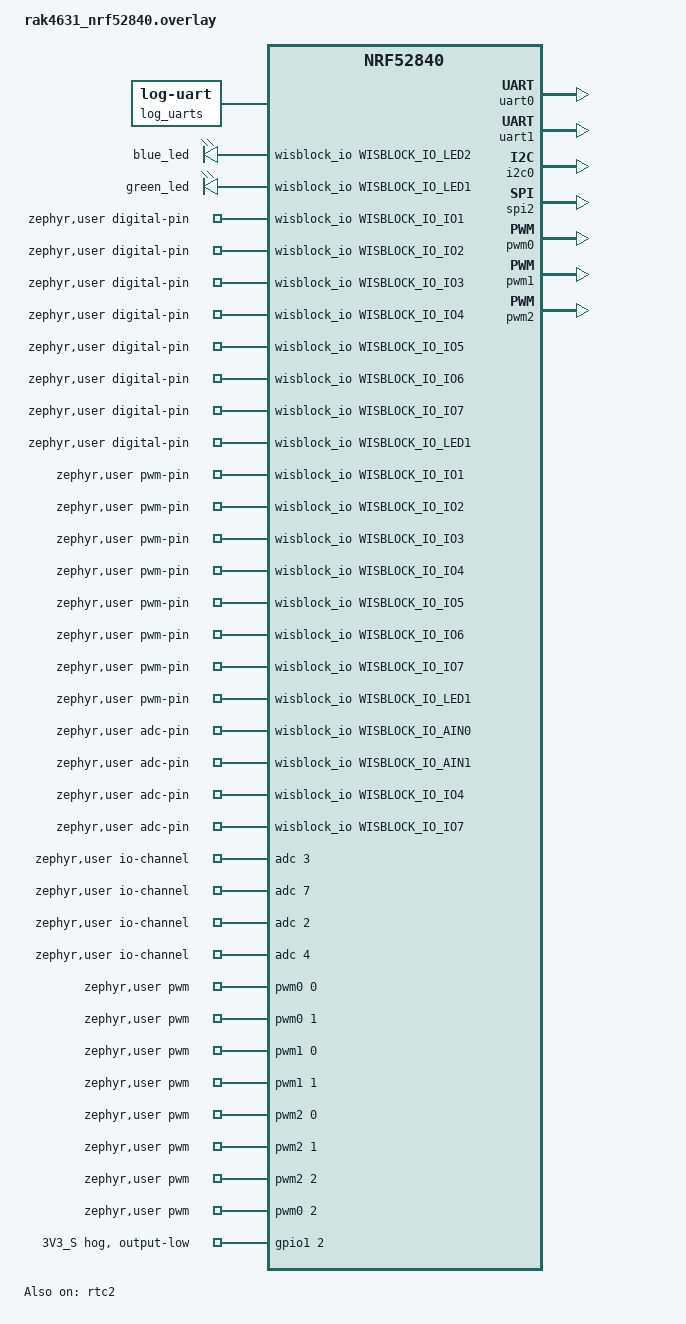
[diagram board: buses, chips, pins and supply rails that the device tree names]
/*
 * Copyright (c) 2026 RAKwireless Technology Limited
 * Author: sercan.erat@rakwireless.com
 * SPDX-License-Identifier: Apache-2.0
 */

/* Flash layout, shared with the MCUboot image as well. */
#include "rak4631_nrf52840_partitions.dtsi"
/* Boot-mode retention area, shared with the MCUboot image as well. */
#include "rak4631_nrf52840_bootmode.dtsi"

/ {
	chosen {
		zephyr,console = &board_cdc_acm_logging;
		zephyr,log-uart = &log_uarts;
		zephyr,shell-uart = &board_cdc_acm_shell;
		zephyr,code-partition = &code_partition;
		/delete-property/ zephyr,uart-mcumgr;
	};

	aliases {
		/* LED_BUILTIN resolves to the green LED (D7). */
		led0 = &green_led;
	};

	log_uarts: log_uarts {
		compatible = "zephyr,log-uart";
		uarts = <&board_cdc_acm_logging>;
	};
};

/*
 * USB CDC-ACM ports, in enumeration order:
 *  1. sketch:  the sketch's 'Serial' (SerialUSB)
 *  2. shell:   Zephyr shell (debug builds only, unused otherwise)
 *  3. logging: console (printk/stdout msg) + log backend (debug builds only, unused otherwise)
 */
&zephyr_udc0 {
	board_cdc_acm_sketch: board_cdc_acm_sketch {
		compatible = "zephyr,cdc-acm-uart";
		status = "okay";
	};

	board_cdc_acm_shell: board_cdc_acm_shell {
		compatible = "zephyr,cdc-acm-uart";
		status = "okay";
	};

	board_cdc_acm_logging: board_cdc_acm_logging {
		compatible = "zephyr,cdc-acm-uart";
		status = "okay";
	};

	num-bidir-endpoints = <1>;
	num-in-endpoints = <6>;
	num-out-endpoints = <3>;
	num-isoin-endpoints = <0>;
	num-isoout-endpoints = <0>;
};

/* The board's own CDC-ACM port would be a fourth one. */
&board_cdc_acm_uart {
	status = "disabled";
};

/* The RAK4631 LEDs: green on P1.03 (D7), blue on P1.04 (D8). */
/ {
	leds {
		compatible = "gpio-leds";

		blue_led: led_2 {
			gpios = <&wisblock_io WISBLOCK_IO_LED2 GPIO_ACTIVE_HIGH>;
		};

		green_led: led_1 {
			gpios = <&wisblock_io WISBLOCK_IO_LED1 GPIO_ACTIVE_HIGH>;
		};
	};
};

/*
 * WisBlock 3V3_S: IO2 (P1.02, WB_IO2 / D1)
 * IO2=1 on, IO2=0 off.
 */
&gpio1 {
	wb-3v3-s {
		gpio-hog;
		gpios = <2 GPIO_ACTIVE_HIGH>;
		output-low;
		line-name = "3V3_S";
	};
};

/* RTC backend for the Arduino RTC library */
&rtc2 {
	status = "okay";
};

/* 'Serial1', 'Serial2' and 'Wire' (zephyr,user below) */
&uart0 {
	status = "okay";
};

&uart1 {
	status = "okay";
};

&i2c0 {
	compatible = "nordic,nrf-twim";
	status = "okay";
};

/* Shares the TWI1/SPI1 instance with the SX1262 SPI; keep disabled. */
&i2c1 {
	status = "disabled";
};

/* WisBlock header SPI: SCK P0.03, MOSI P0.30, MISO P0.29 */
&spi2 {
	compatible = "nordic,nrf-spim";
	status = "okay";
};

/* Standard drive is too slow for 8 MHz */
&spi2_default {
	group1 {
		nordic,drive-mode = <NRF_DRIVE_H0H1>;
	};
};

/* Arduino API pin mappings */
/ {
	zephyr,user {
		digital-pin-gpios = <&wisblock_io WISBLOCK_IO_IO1 0>,	/* D0 - P0.17 */
				    <&wisblock_io WISBLOCK_IO_IO2 0>,	/* D1 - P1.02 */
				    <&wisblock_io WISBLOCK_IO_IO3 0>,	/* D2 - P0.21 */
				    <&wisblock_io WISBLOCK_IO_IO4 0>,	/* D3 - P0.04 */
				    <&wisblock_io WISBLOCK_IO_IO5 0>,	/* D4 - P0.09 */
				    <&wisblock_io WISBLOCK_IO_IO6 0>,	/* D5 - P0.10 */
				    <&wisblock_io WISBLOCK_IO_IO7 0>,	/* D6 - P0.28 (AIN4) */
				    <&wisblock_io WISBLOCK_IO_LED1 0>,	/* D7 - P1.03, green LED */
				    <&wisblock_io WISBLOCK_IO_LED2 0>,	/* D8 - P1.04, blue LED */
				    <&wisblock_io WISBLOCK_IO_AIN0 0>,	/* D9 - P0.05 (AIN3) */
				    <&wisblock_io WISBLOCK_IO_AIN1 0>,	/* D10 - P0.31 (AIN7) */
				    <&wisblock_io WISBLOCK_IO_SPI_CS 0>,/* D11 - P0.26 */
				    <&wisblock_io WISBLOCK_IO_SW1 0>,	/* D12 - P1.01 */
				    <&wisblock_io WISBLOCK_IO_LED3 0>;	/* D13 - P0.02 */

		pwm-pin-gpios = <&wisblock_io WISBLOCK_IO_IO1 0>,	/* D0 */
				<&wisblock_io WISBLOCK_IO_IO2 0>,	/* D1 */
				<&wisblock_io WISBLOCK_IO_IO3 0>,	/* D2 */
				<&wisblock_io WISBLOCK_IO_IO4 0>,	/* D3 */
				<&wisblock_io WISBLOCK_IO_IO5 0>,	/* D4 */
				<&wisblock_io WISBLOCK_IO_IO6 0>,	/* D5 */
				<&wisblock_io WISBLOCK_IO_IO7 0>,	/* D6 */
				<&wisblock_io WISBLOCK_IO_LED1 0>,	/* D7 */
				<&wisblock_io WISBLOCK_IO_LED2 0>;	/* D8 */

		/*
		 * WisBlock analog pins. On the RAK19007 base board, A0
		 * (WB_A0/AIN0) is also wired to the battery voltage
		 * divider (1.5 MOhm / 2.5 MOhm): VBAT = A0 * 5 / 3.
		 */
		adc-pin-gpios = <&wisblock_io WISBLOCK_IO_AIN0 0>,	/* A0 */
				<&wisblock_io WISBLOCK_IO_AIN1 0>,	/* A1 */
				<&wisblock_io WISBLOCK_IO_IO4 0>,	/* A2 - D3 */
				<&wisblock_io WISBLOCK_IO_IO7 0>;	/* A3 - D6 */

		/*
		 * The period cell is in nanoseconds. The PWM counter runs at
		 * 16 MHz, so one count is 62.5 ns and pwm_set_pulse_dt() turns
		 * both the period and the pulse into counts:
		 *
		 *   counts    = ns * 16000000 / 1000000000 = ns / 62.5
		 *   COUNTERTOP = 2000000 / 62.5 = 32000    (2 ms, 500 Hz)
		 *
		 * analogWrite(pin, v) asks for v/255 of the period, so:
		 *
		 *   pulse_ns  = v * period_ns / 255
		 *   COMPARE   = pulse_ns / 62.5
		 *   duty      = COMPARE / COUNTERTOP
		 *
		 * e.g. v = 64 -> 501960 ns -> COMPARE 8031 -> 25 %.
		 *
		 * COMPARE is a whole number, so the period must hold at least
		 * 255 counts (>= 16 us) for all 256 values of v to differ.
		 * 500 Hz has 32000 of them and stays well above flicker.
		 */
		pwms = <&pwm0 0 PWM_HZ(500) PWM_POLARITY_NORMAL>,
		       <&pwm0 1 PWM_HZ(500) PWM_POLARITY_NORMAL>,
		       <&pwm1 0 PWM_HZ(500) PWM_POLARITY_NORMAL>,
		       <&pwm1 1 PWM_HZ(500) PWM_POLARITY_NORMAL>,
		       <&pwm2 0 PWM_HZ(500) PWM_POLARITY_NORMAL>,
		       <&pwm2 1 PWM_HZ(500) PWM_POLARITY_NORMAL>,
		       <&pwm2 2 PWM_HZ(500) PWM_POLARITY_NORMAL>,
		       <&pwm0 2 PWM_HZ(500) PWM_POLARITY_NORMAL>,
		       <&pwm0 3 PWM_HZ(500) PWM_POLARITY_NORMAL>;

		io-channels = <&adc 3>,	/* A0 - WB_A0 (AIN3) */
			      <&adc 7>,	/* A1 - WB_A1 (AIN7) */
			      <&adc 2>,	/* A2 - WB_IO4 (AIN2) */
			      <&adc 4>;	/* A3 - WB_IO7 (AIN4) */

		i2cs = <&i2c0>;	/* 'Wire': WisBlock sensor I2C (SDA P0.13, SCL P0.14) */
		spis = <&spi2>;	/* 'SPI': WisBlock header SPI */

		cdc-acm-serial = <&board_cdc_acm_sketch>; /* 'Serial' object is managed by SerialUSB */
		serials = <&uart0>, <&uart1>;
	};
};

&pwm0 {
	status = "okay";
	zephyr,deferred-init;
	pinctrl-0 = <&empty_default>;
	pinctrl-1 = <&pwm0_sleep>;
	pinctrl-2 = <&pwm0_default>;
	pinctrl-names = "default", "sleep", "arduino";
};

&pwm1 {
	status = "okay";
	zephyr,deferred-init;
	pinctrl-0 = <&empty_default>;
	pinctrl-1 = <&pwm1_sleep>;
	pinctrl-2 = <&pwm1_default>;
	pinctrl-names = "default", "sleep", "arduino";
};

&pwm2 {
	status = "okay";
	zephyr,deferred-init;
	pinctrl-0 = <&empty_default>;
	pinctrl-1 = <&pwm2_sleep>;
	pinctrl-2 = <&pwm2_default>;
	pinctrl-names = "default", "sleep", "arduino";
};

&pinctrl {
	empty_default: empty_default {
		group1 {
			psels = <>;
		};
	};

	pwm0_default: pwm0_default {
		group1 {
			psels = <NRF_PSEL(PWM_OUT0, 0, 17)>,
				<NRF_PSEL(PWM_OUT1, 1, 2)>,
				<NRF_PSEL(PWM_OUT2, 1, 3)>,
				<NRF_PSEL(PWM_OUT3, 1, 4)>;
		};
	};

	pwm0_sleep: pwm0_sleep {
		group1 {
			psels = <NRF_PSEL(PWM_OUT0, 0, 17)>,
				<NRF_PSEL(PWM_OUT1, 1, 2)>,
				<NRF_PSEL(PWM_OUT2, 1, 3)>,
				<NRF_PSEL(PWM_OUT3, 1, 4)>;
				low-power-enable;
		};
	};

	pwm1_default: pwm1_default {
		group1 {
			psels = <NRF_PSEL(PWM_OUT0, 0, 21)>,
				<NRF_PSEL(PWM_OUT1, 0, 4)>;
		};
	};

	pwm1_sleep: pwm1_sleep {
		group1 {
			psels = <NRF_PSEL(PWM_OUT0, 0, 21)>,
				<NRF_PSEL(PWM_OUT1, 0, 4)>;
				low-power-enable;
		};
	};

	pwm2_default: pwm2_default {
		group1 {
			psels = <NRF_PSEL(PWM_OUT0, 0, 9)>,
				<NRF_PSEL(PWM_OUT1, 0, 10)>,
				<NRF_PSEL(PWM_OUT2, 0, 28)>;
		};
	};

	pwm2_sleep: pwm2_sleep {
		group1 {
			psels = <NRF_PSEL(PWM_OUT0, 0, 9)>,
				<NRF_PSEL(PWM_OUT1, 0, 10)>,
				<NRF_PSEL(PWM_OUT2, 0, 28)>;
				low-power-enable;
		};
	};

};
